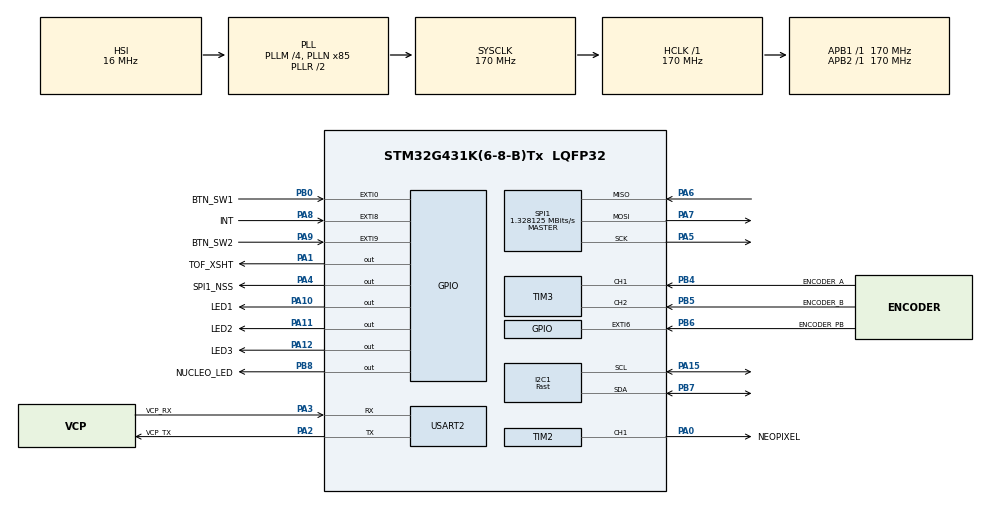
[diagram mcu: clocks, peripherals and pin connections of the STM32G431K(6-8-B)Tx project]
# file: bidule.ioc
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Dma.Request0=TIM2_CH1
Dma.TIM2_CH1.0.Direction=DMA_MEMORY_TO_PERIPH
Dma.TIM2_CH1.0.EventEnable=DISABLE
Dma.TIM2_CH1.0.Instance=DMA1_Channel1
Dma.TIM2_CH1.0.MemDataAlignment=DMA_MDATAALIGN_BYTE
Dma.TIM2_CH1.0.MemInc=DMA_MINC_ENABLE
Dma.TIM2_CH1.0.Mode=DMA_NORMAL
Dma.TIM2_CH1.0.PeriphDataAlignment=DMA_PDATAALIGN_WORD
Dma.TIM2_CH1.0.PeriphInc=DMA_PINC_DISABLE
Dma.TIM2_CH1.0.Polarity=HAL_DMAMUX_REQ_GEN_RISING
Dma.TIM2_CH1.0.Priority=DMA_PRIORITY_LOW
Dma.TIM2_CH1.0.RequestNumber=1
Dma.TIM2_CH1.0.SignalID=NONE
Dma.TIM2_CH1.0.SyncEnable=DISABLE
Dma.TIM2_CH1.0.SyncPolarity=HAL_DMAMUX_SYNC_NO_EVENT
Dma.TIM2_CH1.0.SyncRequestNumber=1
Dma.TIM2_CH1.0.SyncSignalID=NONE
I2C1.I2C_Speed_Mode=I2C_Fast
I2C1.Timing=0x40621236
Mcu.Family=STM32G4
Mcu.Name=STM32G431K(6-8-B)Tx
Mcu.Package=LQFP32
NVIC.DMA1_Channel1_IRQn=true\:0\:0\:false\:false\:true\:false\:true\:true
NVIC.EXTI0_IRQn=true\:0\:0\:false\:false\:true\:true\:true\:true
NVIC.EXTI9_5_IRQn=true\:0\:0\:false\:false\:true\:true\:true\:true
NVIC.I2C1_ER_IRQn=true\:0\:0\:false\:false\:true\:true\:true\:true
NVIC.I2C1_EV_IRQn=true\:0\:0\:false\:false\:true\:true\:true\:true
NVIC.PriorityGroup=NVIC_PRIORITYGROUP_4
NVIC.TIM2_IRQn=true\:0\:0\:false\:false\:true\:true\:true\:true
PA0.GPIO_Label=NEOPIXEL
PA0.Signal=S_TIM2_CH1
PA1.GPIO_Label=TOF_XSHT
PA1.Signal=GPIO_Output
PA10.GPIO_Label=LED1
PA10.Signal=GPIO_Output
PA11.GPIO_Label=LED2
PA11.Signal=GPIO_Output
PA12.GPIO_Label=LED3
PA12.Signal=GPIO_Output
PA13.GPIO_Label=T_SWDIO
PA13.Mode=Trace_Asynchronous_SW
PA13.Signal=SYS_JTMS-SWDIO
PA14.GPIO_Label=T_SWCLK
PA14.Mode=Trace_Asynchronous_SW
PA14.Signal=SYS_JTCK-SWCLK
PA15.GPIO_Pu=GPIO_PULLUP
PA15.Mode=I2C
PA15.Signal=I2C1_SCL
PA2.GPIO_Label=VCP_TX
PA2.Mode=Asynchronous
PA2.Signal=USART2_TX
PA3.GPIO_Label=VCP_RX
PA3.Mode=Asynchronous
PA3.Signal=USART2_RX
PA4.GPIO_Label=SPI1_NSS
PA4.PinState=GPIO_PIN_SET
PA4.Signal=GPIO_Output
PA5.GPIO_Speed=GPIO_SPEED_FREQ_LOW
PA5.Mode=Full_Duplex_Master
PA5.Signal=SPI1_SCK
PA6.GPIO_Speed=GPIO_SPEED_FREQ_LOW
PA6.Mode=Full_Duplex_Master
PA6.Signal=SPI1_MISO
PA7.GPIO_Speed=GPIO_SPEED_FREQ_LOW
PA7.Mode=Full_Duplex_Master
PA7.Signal=SPI1_MOSI
PA8.GPIO_Label=INT
PA8.Signal=GPXTI8
PA9.GPIO_Label=BTN_SW2
PA9.GPIO_ModeDefaultEXTI=GPIO_MODE_IT_FALLING
PA9.GPIO_PuPd=GPIO_PULLUP
PA9.Signal=GPXTI9
PB0.GPIO_Label=BTN_SW1
PB0.GPIO_ModeDefaultEXTI=GPIO_MODE_IT_FALLING
PB0.GPIO_PuPd=GPIO_PULLUP
PB0.Signal=GPXTI0
PB3.GPIO_Label=T_SWO
PB3.Mode=Trace_Asynchronous_SW
PB3.Signal=SYS_JTDO-SWO
PB4.GPIO_Label=ENCODER_A
PB4.GPIO_PuPd=GPIO_PULLUP
PB4.Signal=S_TIM3_CH1
PB5.GPIO_Label=ENCODER_B
PB5.GPIO_PuPd=GPIO_PULLUP
PB5.Signal=S_TIM3_CH2
PB6.GPIO_Label=ENCODER_PB
PB6.GPIO_PuPd=GPIO_PULLUP
PB6.Signal=GPXTI6
PB7.GPIO_Pu=GPIO_PULLUP
PB7.Mode=I2C
PB7.Signal=I2C1_SDA
PB8-BOOT0.GPIO_Label=NUCLEO_LED
PB8-BOOT0.Signal=GPIO_Output
ProjectManager.HeapSize=0x200
ProjectManager.StackSize=0x400
ProjectManager.TargetToolchain=CMake
RCC.ADC12Freq_Value=170000000
RCC.AHBFreq_Value=170000000
RCC.APB1Freq_Value=170000000
RCC.APB1TimFreq_Value=170000000
RCC.APB2Freq_Value=170000000
RCC.APB2TimFreq_Value=170000000
RCC.CortexFreq_Value=170000000
RCC.EXTERNAL_CLOCK_VALUE=12288000
RCC.HCLKFreq_Value=170000000
RCC.HSE_VALUE=8000000
RCC.HSI48_VALUE=48000000
RCC.HSI_VALUE=16000000
RCC.LSE_VALUE=32768
RCC.PLLM=RCC_PLLM_DIV4
RCC.PLLN=85
RCC.SYSCLKFreq_VALUE=170000000
RCC.SYSCLKSource=RCC_SYSCLKSOURCE_PLLCLK
RCC.USBFreq_Value=170000000
RCC.VCOOutputFreq_Value=340000000
SH.S_TIM2_CH1.0=TIM2_CH1,PWM Generation1 CH1
SH.S_TIM3_CH1.0=TIM3_CH1,Encoder_Interface
SH.S_TIM3_CH2.0=TIM3_CH2,Encoder_Interface
SPI1.BaudRatePrescaler=SPI_BAUDRATEPRESCALER_128
SPI1.CLKPhase=SPI_PHASE_2EDGE
SPI1.CLKPolarity=SPI_POLARITY_HIGH
SPI1.CalculateBaudRate=1.328125 MBits/s
SPI1.DataSize=SPI_DATASIZE_8BIT
SPI1.Direction=SPI_DIRECTION_2LINES
SPI1.Mode=SPI_MODE_MASTER
SPI1.VirtualType=VM_MASTER
TIM2.Channel-PWM\ Generation1\ CH1=TIM_CHANNEL_1
TIM2.PeriodNoDither=212
USART2.VirtualMode-Asynchronous=VM_ASYNC
VP_SYS_VS_DBSignals.Mode=DisableDeadBatterySignals
board=NUCLEO-G431KB

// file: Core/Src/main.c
/* USER CODE BEGIN Header */
/**
 ******************************************************************************
 * @file           : main.c
 * @brief          : Main program body
 ******************************************************************************
 * @attention
 *
 * Copyright (c) 2026 STMicroelectronics.
 * All rights reserved.
 *
 * This software is licensed under terms that can be found in the LICENSE file
 * in the root directory of this software component.
 * If no LICENSE file comes with this software, it is provided AS-IS.
 *
 ******************************************************************************
 */
/* USER CODE END Header */
#include "main.h"
#include "dma.h"
#include "i2c.h"
#include "spi.h"
#include "tim.h"
#include "usart.h"
#include "gpio.h"

/* USER CODE BEGIN Includes */
#include "stdbool.h"
#include "stdio.h"
/* USER CODE END Includes */

void SystemClock_Config(void);

/* USER CODE BEGIN 0 */

int __io_putchar(int ch)

{
	HAL_UART_Transmit(&huart2, (uint8_t *)&ch, 1, HAL_MAX_DELAY);
	return ch;
}
int __io_getchar(void)

{

	uint8_t ch = 0;

	__HAL_UART_CLEAR_OREFLAG(&huart2);

	HAL_UART_Receive(&huart2, (uint8_t *)&ch, 1, HAL_MAX_DELAY);

	HAL_UART_Transmit(&huart2, (uint8_t *)&ch, 1, HAL_MAX_DELAY);

	return ch;

}

//=============================================================
//				Foreground: minimal interrupt handle
//=============================================================
/*
#define LED_BLINK_PERIOD 250

static volatile bool sw1_pressed = false;
static volatile bool sw2_pressed = false;

void HAL_GPIO_EXTI_Callback(uint16_t GPIO_Pin) {
	switch (GPIO_Pin) {
	case BTN_SW1_Pin:
		sw1_pressed = true;
		break;
	case BTN_SW2_Pin:
		sw2_pressed = true;
		break;
	}
}
 */
//=============================================================
//				Clignoter LED 2 et LED 3 avec SW1 et SW2
//=============================================================
/*
void HAL_GPIO_EXTI_Callback(uint16_t GPIO_Pin)
{
	switch (GPIO_Pin)
	{
	case BTN_SW1_Pin:
		HAL_GPIO_TogglePin(LED2_GPIO_Port, LED2_Pin);
		break;
	case BTN_SW2_Pin:
		HAL_GPIO_TogglePin(LED3_GPIO_Port, LED3_Pin);
		break;
	}
}
 */

//=============================================================
//				From encoder to Neopixel
//=============================================================
static int s = 250;
static int v = 50;

static void hsv_to_rgb(int h, int s, int v, uint8_t *r, uint8_t *g, uint8_t *b) {
	h = ((h % 360) + 360) % 360;
	if (s <= 0) {
		*r = *g = *b = (uint8_t)v;
		return;
	}
	int region = h / 60;
	int rem = h % 60;
	int p = (v * (255- s)) / 255;
	int q = (v * (255- (s * rem) / 60)) / 255;
	int t = (v * (255- (s * (60- rem)) / 60)) / 255;
	switch (region) {
	case 0: *r = (uint8_t)v; *g = (uint8_t)t; *b = (uint8_t)p; break;
	case 1: *r = (uint8_t)q; *g = (uint8_t)v; *b = (uint8_t)p; break;
	case 2: *r = (uint8_t)p; *g = (uint8_t)v; *b = (uint8_t)t; break;
	case 3: *r = (uint8_t)p; *g = (uint8_t)q; *b = (uint8_t)v; break;
	case 4: *r = (uint8_t)t; *g = (uint8_t)p; *b = (uint8_t)v; break;
	default: *r = (uint8_t)v; *g = (uint8_t)p; *b = (uint8_t)q; break;
	}
}

#define CCR_T0H 68
#define CCR_T1H 136

#define LED_NUMBER 1
#define COLOR_NUMBER 3
#define BITS_PER_COLOR 8

#define NP_BUFFER_LENGHT (LED_NUMBER*COLOR_NUMBER*BITS_PER_COLOR+1)

typedef struct color_struct { // Pour les LEDs RGB
	uint8_t r;
	uint8_t g;
	uint8_t b;
}color_t;

static const color_t red ={.r=50,.g=0,.b=0};
static const color_t green ={.r=0,.g=50,.b=0};
static const color_t blue ={.r=0,.g=0,.b=50};

static color_t rgb ={.r=0,.g=0,.b=0};

uint8_t np_dma_buffer[NP_BUFFER_LENGHT];

void color_to_buffer(color_t * color, uint8_t * buffer)
{
	for (int i=0;i<NP_BUFFER_LENGHT;i++)
	{
		buffer[i] = ((color->g >> (7-i) & 0x01)) ? CCR_T1H : CCR_T0H;
	}

	for (int i=0;i<NP_BUFFER_LENGHT;i++)
	{
		buffer[BITS_PER_COLOR+i] = ((color->r >> (7-i) & 0x01)) ? CCR_T1H : CCR_T0H;
	}

	for (int i=0;i<NP_BUFFER_LENGHT;i++)
	{
		buffer[2*BITS_PER_COLOR+i] = ((color->b >> (7-i) & 0x01)) ? CCR_T1H : CCR_T0H;
	}

	// Dernier bit à 0 pour forcer le 0V du neopixel
	buffer[NP_BUFFER_LENGHT-1]=0;
}

void HAL_TIM_PWM_PulseFinishedCallback(TIM_HandleTypeDef *htim)
{
	if (TIM2==htim->Instance)
	{
		HAL_TIM_PWM_Stop_DMA(&htim2,TIM_CHANNEL_1);
	}
}
/* USER CODE END 0 */

int main(void)
{

	/* MCU Configuration--------------------------------------------------------*/

	/* Reset of all peripherals, Initializes the Flash interface and the Systick. */
	HAL_Init();

	/* Configure the system clock */
	SystemClock_Config();

	/* Initialize all configured peripherals */
	MX_GPIO_Init();
	MX_DMA_Init();
	MX_I2C1_Init();
	MX_TIM3_Init();
	MX_TIM2_Init();
	MX_USART2_UART_Init();
	MX_SPI1_Init();
	/* USER CODE BEGIN 2 */
	//=============================================================
	//				Background: the superloop does the work
	//=============================================================
	/*
	uint32_t last_tick = 0;
	 */
	//=============================================================
	//				From encoder to Neopixel
	//=============================================================

	int16_t encoder_value = __HAL_TIM_GET_COUNTER(&htim3);

	HAL_TIM_Encoder_Start(&htim3,TIM_CHANNEL_3);
	color_to_buffer(&red,np_dma_buffer);
	HAL_TIM_PWM_Start_DMA(&htim2,TIM_CHANNEL_1,(uint32_t *)np_dma_buffer,NP_BUFFER_LENGHT);
	printf("Bonjour\r\n");

	/* USER CODE END 2 */

	/* Infinite loop */
	while (1)
	{

		/* USER CODE BEGIN 3 */
		//=============================================================
		//				Clignoter LED 1
		//=============================================================
		/*
		HAL_GPIO_TogglePin(LED1_GPIO_Port, LED1_Pin);
		HAL_Delay(250);
		 */

		//=============================================================
		//				Background: the superloop does the work
		//=============================================================
		/*
		uint32_t tick = HAL_GetTick();
		if (last_tick != tick)
		{
			last_tick = tick;
			if (0 == (tick % LED_BLINK_PERIOD))
			{
				HAL_GPIO_TogglePin(LED1_GPIO_Port, LED1_Pin);
			}
		}
		if (sw1_pressed)
		{
			sw1_pressed = false;
			HAL_GPIO_TogglePin(LED2_GPIO_Port, LED2_Pin);
		}
		if (sw2_pressed)
		{
			sw2_pressed = false;
			HAL_GPIO_TogglePin(LED3_GPIO_Port, LED3_Pin);
		}
		 */

		//=============================================================
		//				From encoder to Neopixel
		//=============================================================
		encoder_value = __HAL_TIM_GET_COUNTER(&htim3);
		printf("Encoder value %d\r\n",encoder_value);

		hsv_to_rgb(encoder_value,s,v, &rgb.r, &rgb.g, &rgb.b);
		color_to_buffer(&rgb,np_dma_buffer);
		HAL_TIM_PWM_Start_DMA(&htim2,TIM_CHANNEL_1,(uint32_t *)np_dma_buffer,NP_BUFFER_LENGHT);
		HAL_Delay(250);

	}
	/* USER CODE END 3 */
}

void SystemClock_Config(void)
{
	RCC_OscInitTypeDef RCC_OscInitStruct = {0};
	RCC_ClkInitTypeDef RCC_ClkInitStruct = {0};

	/** Configure the main internal regulator output voltage
	 */
	HAL_PWREx_ControlVoltageScaling(PWR_REGULATOR_VOLTAGE_SCALE1_BOOST);

	/** Initializes the RCC Oscillators according to the specified parameters
	 * in the RCC_OscInitTypeDef structure.
	 */
	RCC_OscInitStruct.OscillatorType = RCC_OSCILLATORTYPE_HSI;
	RCC_OscInitStruct.HSIState = RCC_HSI_ON;
	RCC_OscInitStruct.HSICalibrationValue = RCC_HSICALIBRATION_DEFAULT;
	RCC_OscInitStruct.PLL.PLLState = RCC_PLL_ON;
	RCC_OscInitStruct.PLL.PLLSource = RCC_PLLSOURCE_HSI;
	RCC_OscInitStruct.PLL.PLLM = RCC_PLLM_DIV4;
	RCC_OscInitStruct.PLL.PLLN = 85;
	RCC_OscInitStruct.PLL.PLLP = RCC_PLLP_DIV2;
	RCC_OscInitStruct.PLL.PLLQ = RCC_PLLQ_DIV2;
	RCC_OscInitStruct.PLL.PLLR = RCC_PLLR_DIV2;
	if (HAL_RCC_OscConfig(&RCC_OscInitStruct) != HAL_OK)
	{
		Error_Handler();
	}

	/** Initializes the CPU, AHB and APB buses clocks
	 */
	RCC_ClkInitStruct.ClockType = RCC_CLOCKTYPE_HCLK|RCC_CLOCKTYPE_SYSCLK
			|RCC_CLOCKTYPE_PCLK1|RCC_CLOCKTYPE_PCLK2;
	RCC_ClkInitStruct.SYSCLKSource = RCC_SYSCLKSOURCE_PLLCLK;
	RCC_ClkInitStruct.AHBCLKDivider = RCC_SYSCLK_DIV1;
	RCC_ClkInitStruct.APB1CLKDivider = RCC_HCLK_DIV1;
	RCC_ClkInitStruct.APB2CLKDivider = RCC_HCLK_DIV1;

	if (HAL_RCC_ClockConfig(&RCC_ClkInitStruct, FLASH_LATENCY_4) != HAL_OK)
	{
		Error_Handler();
	}
}

void Error_Handler(void)
{
	__disable_irq();
	while (1)
	{
	}
}
